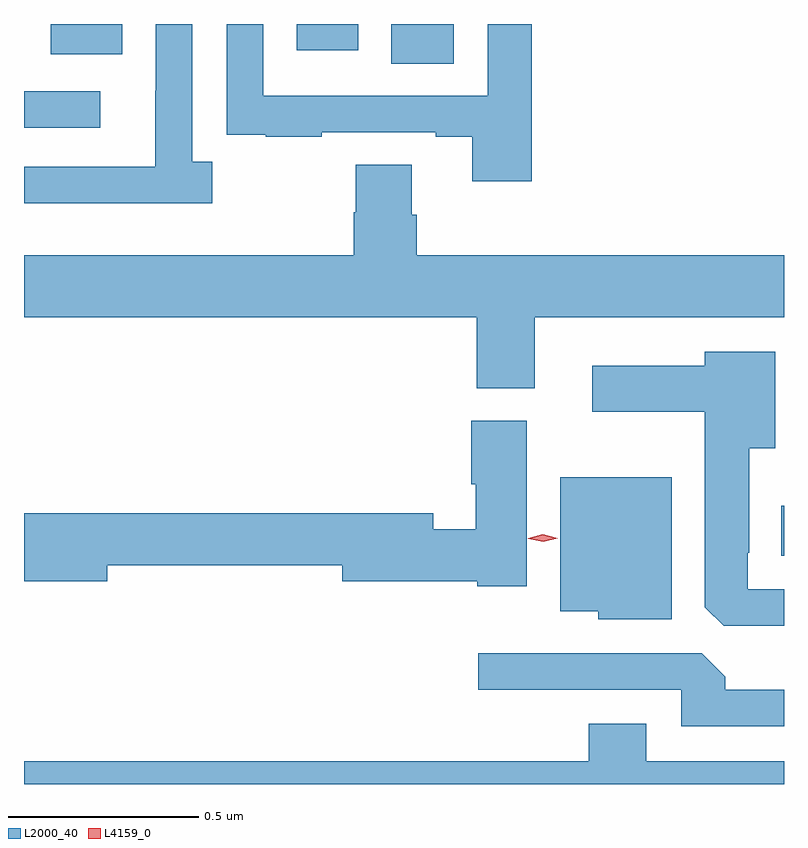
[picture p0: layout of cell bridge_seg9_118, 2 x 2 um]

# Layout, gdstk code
import gdstk
lib = gdstk.Library(unit=1e-6, precision=1e-09)
def R(c, l, rs):  # rectangles x0, y0, x1, y1
    for r in rs: c.add(gdstk.rectangle(r[:2], r[2:], *l))
def P(c, l, *ps):  # polygons
    for p in ps: c.add(gdstk.Polygon(p, *l))
L2000_40 = (2000, 40)
L4159_0 = (4159, 0)

bridge_seg9_118 = lib.new_cell('bridge_seg9_118')
R(bridge_seg9_118, L2000_40, [(635.03,1171.817,635.037,1171.948), (633.037,1172.943,633.238,1173.039), (634.004,1173.112,634.168,1173.216), (633.107,1173.137,633.295,1173.216), (633.755,1173.147,633.916,1173.216)])
P(bridge_seg9_118, L2000_40, [(633.532,1172.854),(633.48,1172.854),(633.48,1173.216),(633.384,1173.216),(633.384,1173.041),(633.383,1173.041),(633.383,1172.841),(633.037,1172.841),(633.037,1172.744),(633.532,1172.744)],
  [(634.373,1173.216),(634.257,1173.216),(634.257,1173.027),(633.666,1173.027),(633.666,1173.216),(633.57,1173.216),(633.57,1173.034),(633.571,1173.034),(633.571,1172.925),(633.673,1172.925),(633.673,1172.919),(633.821,1172.919),(633.821,1172.931),(634.121,1172.931),(634.121,1172.919),(634.217,1172.919),(634.217,1172.802),(634.373,1172.802)],
  [(634.381,1172.444),(635.037,1172.444),(635.037,1172.608),(634.07,1172.608),(634.07,1172.714),(634.057,1172.714),(634.057,1172.846),(633.91,1172.846),(633.91,1172.721),(633.905,1172.721),(633.905,1172.608),(633.037,1172.608),(633.037,1172.444),(634.229,1172.444),(634.229,1172.257),(634.381,1172.257)],
  [(635.037,1171.728),(634.941,1171.728),(634.941,1171.825),(634.945,1171.825),(634.945,1172.099),(635.014,1172.099),(635.014,1172.353),(634.829,1172.353),(634.829,1172.317),(634.533,1172.317),(634.533,1172.195),(634.829,1172.195),(634.829,1171.681),(634.878,1171.632),(635.037,1171.632)],
  [(634.36,1172.172),(634.214,1172.172),(634.214,1172.005),(634.226,1172.005),(634.226,1171.887),(634.114,1171.887),(634.114,1171.928),(633.037,1171.928),(633.037,1171.75),(633.256,1171.75),(633.256,1171.792),(633.875,1171.792),(633.875,1171.75),(634.23,1171.75),(634.23,1171.736),(634.36,1171.736)],
  [(634.741,1172.023),(634.448,1172.023),(634.448,1171.67),(634.548,1171.67),(634.548,1171.649),(634.741,1171.649)],
  [(635.037,1171.464),(634.883,1171.464),(634.883,1171.498),(634.821,1171.56),(634.233,1171.56),(634.233,1171.464),(634.767,1171.464),(634.767,1171.368),(635.037,1171.368)],
  [(635.037,1171.276),(634.675,1171.276),(634.675,1171.375),(634.523,1171.375),(634.523,1171.276),(633.037,1171.276),(633.037,1171.216),(635.037,1171.216)])
P(bridge_seg9_118, L4159_0, [(634.403,1171.853),(634.364,1171.862),(634.364,1171.862),(634.364,1171.863),(634.402,1171.873),(634.441,1171.863),(634.441,1171.863),(634.441,1171.863)])

lib.write_gds('bridge_seg9_118.gds')
